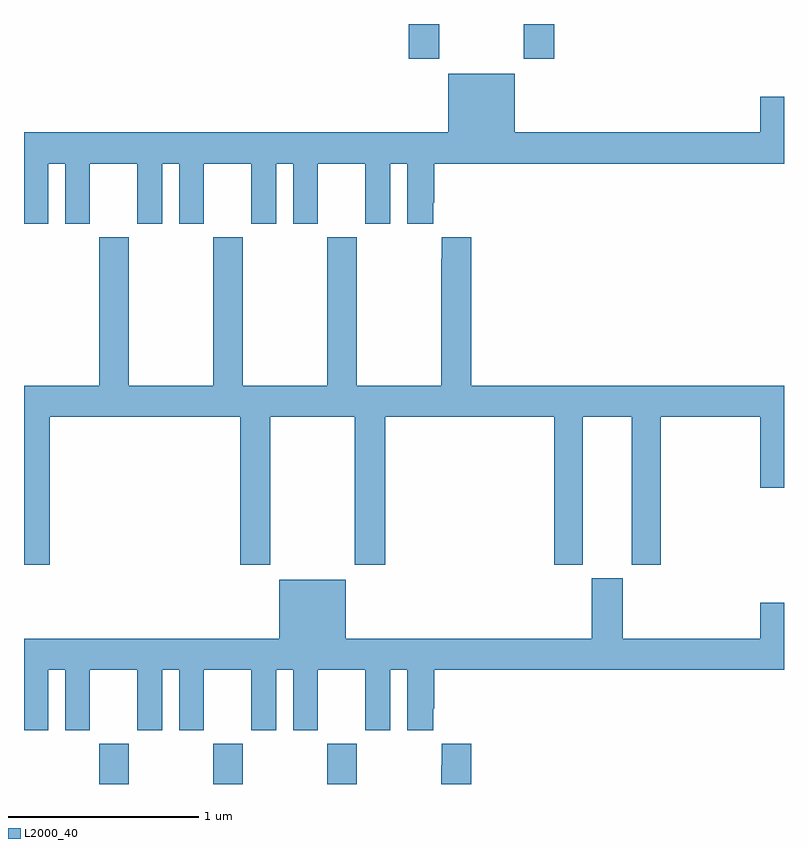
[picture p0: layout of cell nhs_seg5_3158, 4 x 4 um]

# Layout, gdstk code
import gdstk
lib = gdstk.Library(unit=1e-6, precision=1e-09)
def R(c, l, rs):  # rectangles x0, y0, x1, y1
    for r in rs: c.add(gdstk.rectangle(r[:2], r[2:], *l))
def A(c, l, x, y, w, h, nx, ny, dx, dy):  # array of equal rectangles
    R(c, l, [(x+i*dx, y+j*dy, x+i*dx+w, y+j*dy+h) for i in range(nx) for j in range(ny)])
def P(c, l, *ps):  # polygons
    for p in ps: c.add(gdstk.Polygon(p, *l))
L2000_40 = (2000, 40)

nhs_seg5_3158 = lib.new_cell('nhs_seg5_3158')
A(nhs_seg5_3158, L2000_40, 293.395, 882.799, 0.155, 0.213, 3, 1, 0.6, 0)
R(nhs_seg5_3158, L2000_40, [(295.025,886.617,295.185,886.799), (295.63,886.617,295.79,886.799)])
P(nhs_seg5_3158, L2000_40, [(293.128,886.064),(293.216,886.064),(293.216,885.747),(293.347,885.747),(293.347,886.064),(293.597,886.064),(293.597,885.747),(293.728,885.747),(293.728,886.064),(293.816,886.064),(293.816,885.747),(293.947,885.747),(293.947,886.064),(294.197,886.064),(294.197,885.747),(294.328,885.747),(294.328,886.064),(294.416,886.064),(294.416,885.747),(294.547,885.747),(294.547,886.064),(294.797,886.064),(294.797,885.747),(294.928,885.747),(294.928,886.064),(295.016,886.064),(295.016,885.747),(295.153,885.747),(295.153,885.859),(295.16,885.859),(295.16,886.064),(297,886.064),(297,886.417),(296.876,886.417),(296.876,886.228),(295.582,886.228),(295.582,886.537),(295.232,886.537),(295.232,886.228),(293,886.228),(293,885.747),(293.128,885.747)],
  [(295.199,885.676),(295.199,885.563),(295.195,885.563),(295.195,884.896),(294.75,884.896),(294.75,885.676),(294.595,885.676),(294.595,884.896),(294.15,884.896),(294.15,885.676),(293.995,885.676),(293.995,884.896),(293.55,884.896),(293.55,885.676),(293.395,885.676),(293.395,884.896),(293,884.896),(293,883.953),(293.135,883.953),(293.135,884.732),(294.137,884.732),(294.137,883.953),(294.297,883.953),(294.297,884.732),(294.742,884.732),(294.742,883.953),(294.902,883.953),(294.902,884.732),(295.79,884.732),(295.79,883.953),(295.942,883.953),(295.942,884.732),(296.198,884.732),(296.198,883.953),(296.351,883.953),(296.351,884.732),(296.876,884.732),(296.876,884.358),(297,884.358),(297,884.896),(295.355,884.896),(295.355,885.676)],
  [(294.797,883.083),(294.928,883.083),(294.928,883.4),(295.016,883.4),(295.016,883.083),(295.153,883.083),(295.153,883.195),(295.16,883.195),(295.16,883.4),(297,883.4),(297,883.753),(296.876,883.753),(296.876,883.564),(296.152,883.564),(296.152,883.881),(295.988,883.881),(295.988,883.564),(294.694,883.564),(294.694,883.873),(294.344,883.873),(294.344,883.564),(293,883.564),(293,883.083),(293.128,883.083),(293.128,883.4),(293.216,883.4),(293.216,883.083),(293.347,883.083),(293.347,883.4),(293.597,883.4),(293.597,883.083),(293.728,883.083),(293.728,883.4),(293.816,883.4),(293.816,883.083),(293.947,883.083),(293.947,883.4),(294.197,883.4),(294.197,883.083),(294.328,883.083),(294.328,883.4),(294.416,883.4),(294.416,883.083),(294.547,883.083),(294.547,883.4),(294.797,883.4)],
  [(295.355,883.012),(295.199,883.012),(295.199,882.899),(295.195,882.899),(295.195,882.799),(295.355,882.799)])

lib.write_gds('nhs_seg5_3158.gds')
